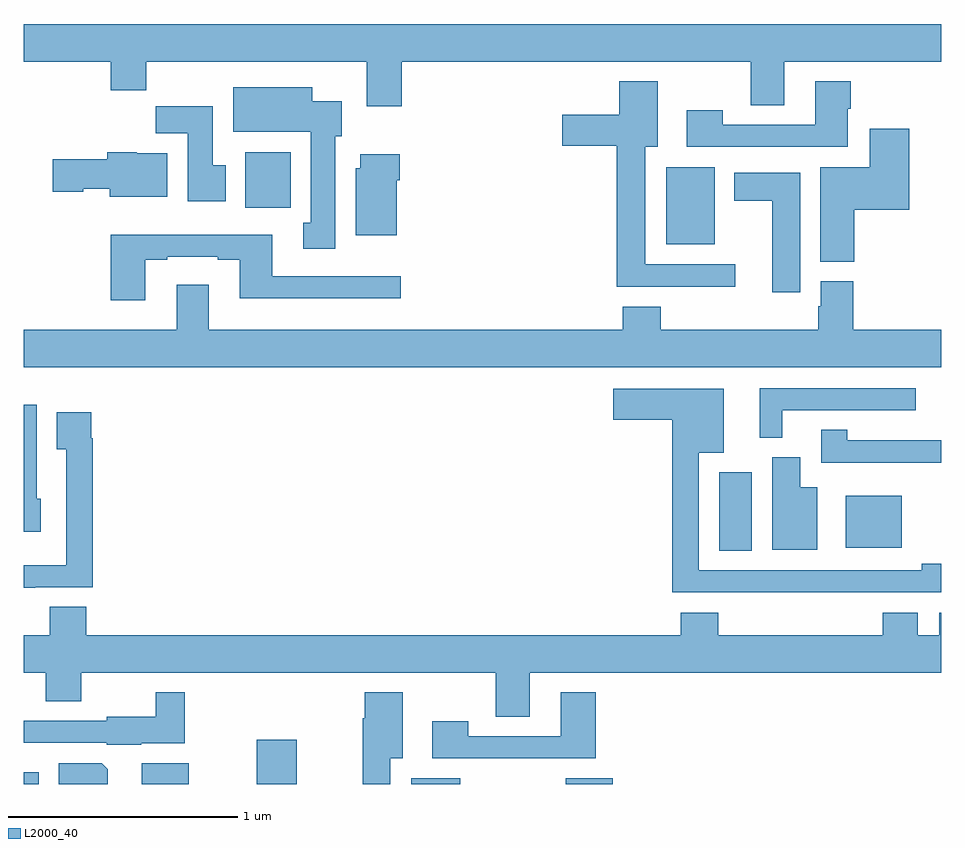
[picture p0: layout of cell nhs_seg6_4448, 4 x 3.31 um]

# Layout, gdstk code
import gdstk
lib = gdstk.Library(unit=1e-6, precision=1e-09)
def R(c, l, rs):  # rectangles x0, y0, x1, y1
    for r in rs: c.add(gdstk.rectangle(r[:2], r[2:], *l))
def P(c, l, *ps):  # polygons
    for p in ps: c.add(gdstk.Polygon(p, *l))
L2000_40 = (2000, 40)

nhs_seg6_4448 = lib.new_cell('nhs_seg6_4448')
R(nhs_seg6_4448, L2000_40, [(373,965.5,373.066,965.551), (373.514,965.5,373.72,965.59), (374.017,965.5,374.19,965.692), (374.69,965.5,374.902,965.524), (375.362,965.5,375.568,965.524), (376.031,966.517,376.174,966.859), (376.583,966.53,376.828,966.757), (375.8,967.853,376.012,968.188), (373.967,968.012,374.164,968.254)])
P(nhs_seg6_4448, L2000_40, [(374.648,968.648),(376.168,968.648),(376.168,968.458),(376.315,968.458),(376.315,968.648),(377,968.648),(377,968.812),(373,968.812),(373,968.648),(373.379,968.648),(373.379,968.524),(373.535,968.524),(373.535,968.648),(374.495,968.648),(374.495,968.454),(374.648,968.454)],
  [(376.591,968.443),(376.604,968.443),(376.604,968.563),(376.451,968.563),(376.451,968.373),(376.047,968.373),(376.047,968.437),(375.891,968.437),(375.891,968.277),(376.591,968.277)],
  [(376.102,967.764),(375.709,967.764),(375.709,968.276),(375.763,968.276),(375.763,968.563),(375.596,968.563),(375.596,968.416),(375.348,968.416),(375.348,968.282),(375.584,968.282),(375.584,967.667),(376.102,967.667)],
  [(374.359,968.322),(374.386,968.322),(374.386,968.476),(374.257,968.476),(374.257,968.536),(373.913,968.536),(373.913,968.342),(374.252,968.342),(374.252,967.946),(374.219,967.946),(374.219,967.833),(374.359,967.833)],
  [(373.882,968.196),(373.825,968.196),(373.825,968.454),(373.576,968.454),(373.576,968.336),(373.715,968.336),(373.715,968.04),(373.882,968.04)],
  [(376.619,968.003),(376.859,968.003),(376.859,968.356),(376.688,968.356),(376.688,968.188),(376.472,968.188),(376.472,967.777),(376.619,967.777)],
  [(373.627,968.248),(373.494,968.248),(373.494,968.254),(373.364,968.254),(373.364,968.223),(373.128,968.223),(373.128,968.081),(373.26,968.081),(373.26,968.093),(373.376,968.093),(373.376,968.06),(373.627,968.06)],
  [(374.626,968.132),(374.639,968.132),(374.639,968.245),(374.468,968.245),(374.468,968.184),(374.447,968.184),(374.447,967.892),(374.626,967.892)],
  [(376.384,968.164),(376.097,968.164),(376.097,968.042),(376.262,968.042),(376.262,967.644),(376.384,967.644)],
  [(373.531,967.785),(373.627,967.785),(373.627,967.797),(373.847,967.797),(373.847,967.785),(373.943,967.785),(373.943,967.616),(374.644,967.616),(374.644,967.713),(374.083,967.713),(374.083,967.894),(373.379,967.894),(373.379,967.608),(373.531,967.608)],
  [(377,967.48),(376.616,967.48),(376.616,967.692),(376.475,967.692),(376.475,967.581),(376.463,967.581),(376.463,967.48),(375.776,967.48),(375.776,967.579),(375.611,967.579),(375.611,967.48),(373.807,967.48),(373.807,967.675),(373.667,967.675),(373.667,967.48),(373,967.48),(373,967.316),(377,967.316)],
  [(376.306,967.128),(376.888,967.128),(376.888,967.224),(376.208,967.224),(376.208,967.009),(376.306,967.009)],
  [(376.661,966.336),(377,966.336),(377,966.46),(376.914,966.46),(376.914,966.432),(375.942,966.432),(375.942,966.944),(376.051,966.944),(376.051,967.222),(375.57,967.222),(375.57,967.088),(375.826,967.088),(375.826,966.336),(376.111,966.336),(376.111,966.335),(376.661,966.335)],
  [(373.075,966.744),(373.057,966.744),(373.057,967.153),(373,967.153),(373,966.6),(373.075,966.6)],
  [(373.051,966.357),(373.301,966.357),(373.301,967.007),(373.294,967.007),(373.294,967.12),(373.145,967.12),(373.145,966.959),(373.185,966.959),(373.185,966.454),(373,966.454),(373,966.356),(373.051,966.356)],
  [(376.924,966.9),(377,966.9),(377,966.997),(376.589,966.997),(376.589,967.043),(376.476,967.043),(376.476,966.899),(376.924,966.899)],
  [(376.459,966.793),(376.384,966.793),(376.384,966.924),(376.262,966.924),(376.262,966.521),(376.459,966.521)],
  [(375.205,965.984),(377,965.984),(377,966.247),(376.991,966.247),(376.991,966.148),(376.897,966.148),(376.897,966.247),(376.745,966.247),(376.745,966.148),(376.028,966.148),(376.028,966.247),(375.863,966.247),(375.863,966.148),(373.274,966.148),(373.274,966.272),(373.114,966.272),(373.114,966.148),(373,966.148),(373,965.984),(373.096,965.984),(373.096,965.86),(373.251,965.86),(373.251,965.984),(375.058,965.984),(375.058,965.794),(375.205,965.794)],
  [(375.494,965.899),(375.341,965.899),(375.341,965.709),(374.937,965.709),(374.937,965.773),(374.781,965.773),(374.781,965.613),(375.494,965.613)],
  [(373.512,965.678),(373.703,965.678),(373.703,965.899),(373.575,965.899),(373.575,965.794),(373.362,965.794),(373.362,965.775),(373,965.775),(373,965.679),(373.362,965.679),(373.362,965.672),(373.512,965.672)],
  [(374.599,965.612),(374.653,965.612),(374.653,965.899),(374.486,965.899),(374.486,965.786),(374.479,965.786),(374.479,965.5),(374.599,965.5)],
  [(373.366,965.564),(373.34,965.59),(373.154,965.59),(373.154,965.5),(373.366,965.5)])

lib.write_gds('nhs_seg6_4448.gds')
